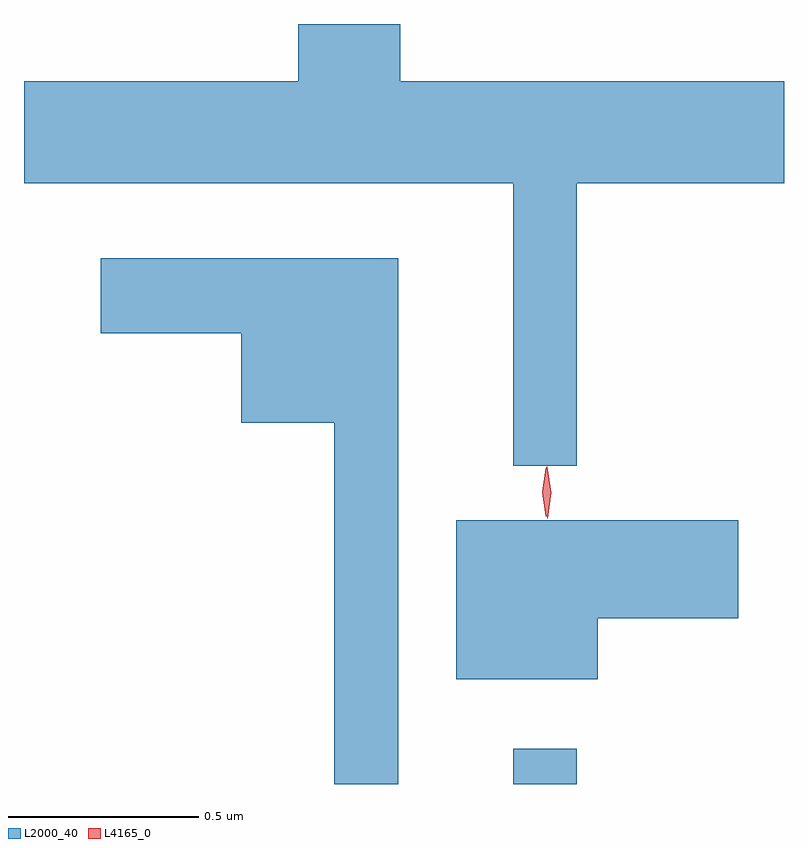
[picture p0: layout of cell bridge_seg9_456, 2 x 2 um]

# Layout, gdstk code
import gdstk
lib = gdstk.Library(unit=1e-6, precision=1e-09)
def R(c, l, rs):  # rectangles x0, y0, x1, y1
    for r in rs: c.add(gdstk.rectangle(r[:2], r[2:], *l))
def P(c, l, *ps):  # polygons
    for p in ps: c.add(gdstk.Polygon(p, *l))
L2000_40 = (2000, 40)
L4165_0 = (4165, 0)

bridge_seg9_456 = lib.new_cell('bridge_seg9_456')
R(bridge_seg9_456, L2000_40, [(395.461,2059.055,395.629,2059.148)])
P(bridge_seg9_456, L2000_40, [(395.629,2060.636),(396.174,2060.636),(396.174,2060.904),(395.164,2060.904),(395.164,2061.055),(394.896,2061.055),(394.896,2060.904),(394.174,2060.904),(394.174,2060.636),(395.461,2060.636),(395.461,2059.893),(395.629,2059.893)],
  [(395.159,2060.439),(394.376,2060.439),(394.376,2060.241),(394.746,2060.241),(394.746,2060.006),(394.991,2060.006),(394.991,2059.055),(395.159,2059.055)],
  [(395.684,2059.491),(396.054,2059.491),(396.054,2059.749),(395.311,2059.749),(395.311,2059.331),(395.684,2059.331)])
P(bridge_seg9_456, L4165_0, [(395.551,2059.754),(395.551,2059.754),(395.541,2059.822),(395.55,2059.89),(395.55,2059.89),(395.551,2059.89),(395.561,2059.822),(395.552,2059.754)],
  [(395.547,2059.76),(395.538,2059.823),(395.547,2059.886),(395.548,2059.887),(395.548,2059.886),(395.558,2059.823),(395.548,2059.76),(395.548,2059.76)])

lib.write_gds('bridge_seg9_456.gds')
